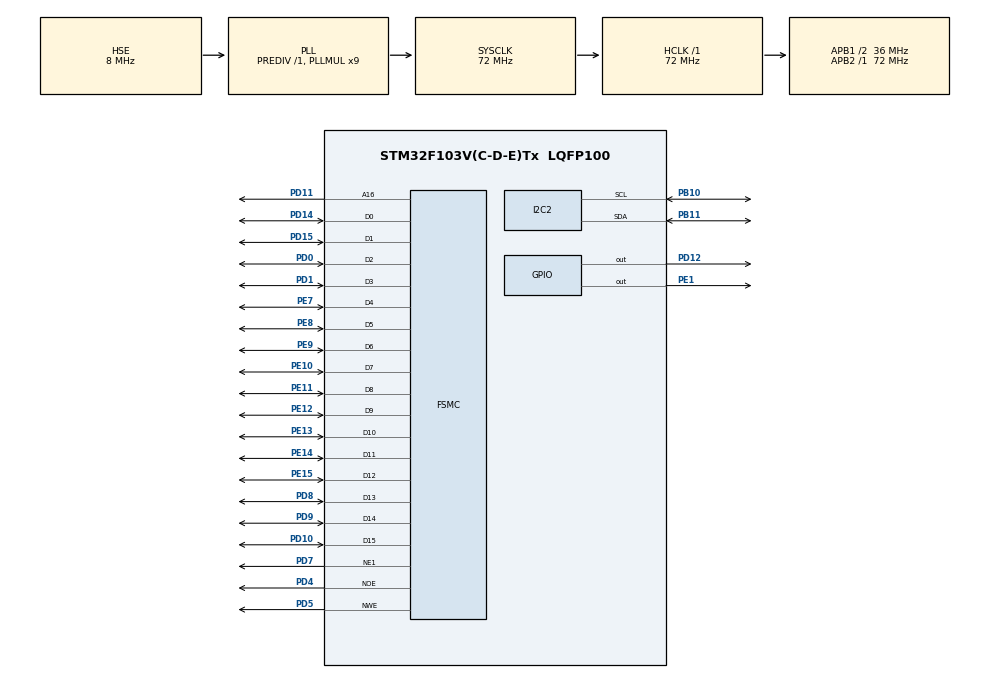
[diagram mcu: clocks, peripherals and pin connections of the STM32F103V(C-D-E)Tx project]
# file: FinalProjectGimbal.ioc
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Mcu.Family=STM32F1
Mcu.Name=STM32F103V(C-D-E)Tx
Mcu.Package=LQFP100
NVIC.PriorityGroup=NVIC_PRIORITYGROUP_4
OSC_IN.Mode=HSE-External-Oscillator
OSC_IN.Signal=RCC_OSC_IN
OSC_OUT.Mode=HSE-External-Oscillator
OSC_OUT.Signal=RCC_OSC_OUT
PA13.Mode=Serial_Wire
PA13.Signal=SYS_JTMS-SWDIO
PA14.Mode=Serial_Wire
PA14.Signal=SYS_JTCK-SWCLK
PB10.Mode=I2C
PB10.Signal=I2C2_SCL
PB11.Mode=I2C
PB11.Signal=I2C2_SDA
PC14-OSC32_IN.Mode=LSE-External-Oscillator
PC14-OSC32_IN.Signal=RCC_OSC32_IN
PC15-OSC32_OUT.Mode=LSE-External-Oscillator
PC15-OSC32_OUT.Signal=RCC_OSC32_OUT
PD0.Mode=16b-d1
PD0.Signal=FSMC_D2
PD1.Mode=16b-d1
PD1.Signal=FSMC_D3
PD10.Mode=16b-d1
PD10.Signal=FSMC_D15
PD11.Mode=A16_1
PD11.Signal=FSMC_A16
PD12.GPIO_Speed=GPIO_SPEED_FREQ_HIGH
PD12.Signal=GPIO_Output
PD14.Mode=16b-d1
PD14.Signal=FSMC_D0
PD15.Mode=16b-d1
PD15.Signal=FSMC_D1
PD4.Mode=Lcd1
PD4.Signal=FSMC_NOE
PD5.Mode=Lcd1
PD5.Signal=FSMC_NWE
PD7.Mode=NorPsramChipSelect1_1
PD7.Signal=FSMC_NE1
PD8.Mode=16b-d1
PD8.Signal=FSMC_D13
PD9.Mode=16b-d1
PD9.Signal=FSMC_D14
PE1.GPIO_Speed=GPIO_SPEED_FREQ_HIGH
PE1.PinState=GPIO_PIN_RESET
PE1.Signal=GPIO_Output
PE10.Mode=16b-d1
PE10.Signal=FSMC_D7
PE11.Mode=16b-d1
PE11.Signal=FSMC_D8
PE12.Mode=16b-d1
PE12.Signal=FSMC_D9
PE13.Mode=16b-d1
PE13.Signal=FSMC_D10
PE14.Mode=16b-d1
PE14.Signal=FSMC_D11
PE15.Mode=16b-d1
PE15.Signal=FSMC_D12
PE7.Mode=16b-d1
PE7.Signal=FSMC_D4
PE8.Mode=16b-d1
PE8.Signal=FSMC_D5
PE9.Mode=16b-d1
PE9.Signal=FSMC_D6
ProjectManager.HeapSize=0x200
ProjectManager.StackSize=0x400
ProjectManager.TargetToolchain=STM32CubeIDE
RCC.AHBFreq_Value=72000000
RCC.APB1CLKDivider=RCC_HCLK_DIV2
RCC.APB1Freq_Value=36000000
RCC.APB1TimFreq_Value=72000000
RCC.APB2Freq_Value=72000000
RCC.APB2TimFreq_Value=72000000
RCC.HCLKFreq_Value=72000000
RCC.PLLMUL=RCC_PLL_MUL9
RCC.PLLSourceVirtual=RCC_PLLSOURCE_HSE
RCC.SYSCLKFreq_VALUE=72000000
RCC.SYSCLKSource=RCC_SYSCLKSOURCE_PLLCLK
RCC.USBFreq_Value=72000000
board=custom

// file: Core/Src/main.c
/* USER CODE BEGIN Header */
/**
  ******************************************************************************
  * @file           : main.c
  * @brief          : Main program body
  ******************************************************************************
  * @attention
  *
  * Copyright (c) 2022 STMicroelectronics.
  * All rights reserved.
  *
  * This software is licensed under terms that can be found in the LICENSE file
  * in the root directory of this software component.
  * If no LICENSE file comes with this software, it is provided AS-IS.
  *
  ******************************************************************************
  */
/* USER CODE END Header */
#include "main.h"
#include <stdio.h>
#include <unistd.h>
#include <string.h>
#include <math.h>
#include "lcd.h"

/* USER CODE BEGIN PTD */
#define RAD_TO_DEG 57.295779513082320876798154814105
#define PI 3.141592654
/* USER CODE END PTD */

I2C_HandleTypeDef hi2c2;

SRAM_HandleTypeDef hsram1;

void SystemClock_Config(void);
static void MX_GPIO_Init(void);
static void MX_FSMC_Init(void);
static void MX_I2C2_Init(void);
/* USER CODE BEGIN PFP */

#define MPU6050_ADDR 0xD0

#define SMPLRT_DIV_REG 0x19
#define GYRO_CONFIG_REG 0x1B
#define ACCEL_CONFIG_REG 0x1C
#define ACCEL_XOUT_REG 0x3B
#define TEMP_OUT_H_REG 0x41
#define GYRO_XOUT_H_REG 0x43
#define PWR_MGMT_1_REG 0x6B
#define WHO_AM_I_REG 0x75

//Kalman Struct
typedef struct
{
	double Q_angle;
	double Q_bias;
	double R_measure;
	double angle;
	double bias;
	double P[2][2];
} Kalman_t ;

int16_t Accel_X_RAW = 0;
int16_t Accel_Y_RAW = 0;
int16_t Accel_Z_RAW = 0;

int16_t Gyro_X_RAW = 0;
int16_t Gyro_Y_RAW = 0;
int16_t Gyro_Z_RAW = 0;

int16_t Accel_X_Error = 0;
int16_t Accel_Y_Error = 0;
int16_t Accel_Z_Error = 0;

int16_t Gyro_X_Error = 0;
int16_t Gyro_Y_Error = 0;
int16_t Gyro_Z_Error = 0;

float Ax, Ay, Az, Gx, Gy, Gz;

uint32_t timer;

/* USER CODE END PFP */

/* USER CODE BEGIN 0 */

Kalman_t KalmanX = {
		.Q_angle = 0.001f,
		.Q_bias = 0.003f,
		.R_measure = 0.03f
};

Kalman_t KalmanY = {
		.Q_angle = 0.001f,
		.Q_bias = 0.003f,
		.R_measure = 0.03f
};

double KalmanAngleX;
double KalmanAngleY;
double KalmanAngleZ;

void MPU6050_Init(void)
{
	uint8_t check, data;
	HAL_I2C_Mem_Read(&hi2c2, MPU6050_ADDR, WHO_AM_I_REG, 1, &check, 1, 1000);

	if (check == 104) // If the device is present
	{
		//Waking the sensor up
		data = 0;
		HAL_I2C_Mem_Write(&hi2c2, MPU6050_ADDR, PWR_MGMT_1_REG, 1, &data, 1, 1000);

		//Setting Data Rate to 1KHz by writing SMPRT_DIV register
		data = 0x07;
		HAL_I2C_Mem_Write(&hi2c2, MPU6050_ADDR, SMPLRT_DIV_REG, 1, &data, 1, 1000);

		//Setting accelerometer configuration
		//XA_ST=0, YA_ST=0,ST=0,FS_SEL = 0 -> +-2g
		data = 0x00;
		HAL_I2C_Mem_Write(&hi2c2, MPU6050_ADDR, ACCEL_CONFIG_REG, 1, &data, 1, 1000);

		//Setting Gyroscope configuration
		//XG_ST=0,YG_ST=0, ZG_ST=0,FS_SEL=0 -> +=250 deg/sec
		data = 0x00;
		HAL_I2C_Mem_Write(&hi2c2, MPU6050_ADDR, GYRO_CONFIG_REG, 1, &data, 1, 1000);
	}
}

void MPU6050_Read_Accel(void)
{
	uint8_t Rec_Data[6];

	// Read 6 BYTES of data starting from ACCEL_XOUT_H register
	HAL_I2C_Mem_Read(&hi2c2, MPU6050_ADDR, ACCEL_XOUT_REG, 1, Rec_Data, 6, 1000);

	Accel_X_RAW = (int16_t)(Rec_Data[0] << 8 | Rec_Data[1]);
	Accel_Y_RAW = (int16_t)(Rec_Data[2] << 8 | Rec_Data[3]);
	Accel_Z_RAW = (int16_t)(Rec_Data[4] << 8 | Rec_Data[5]);

	// Converting RAW values into acceleration in g
	// We have to divide according to the Full scale value set in FS_SEL

	Ax = Accel_X_RAW/16484.0;
	Ay = Accel_Y_RAW/16484.0;
	Az = Accel_Z_RAW/16484.0;
}

void MPU6050_Read_Gyro(void)
{
	uint8_t Rec_Data[6];

	// Read 6 BYTES of data starting from GYRO_XOUT_H register
	HAL_I2C_Mem_Read(&hi2c2, MPU6050_ADDR, GYRO_XOUT_H_REG, 1, Rec_Data, 6, 1000);

	Gyro_X_RAW = (int16_t)(Rec_Data[0] << 8 | Rec_Data[1]);
	Gyro_Y_RAW = (int16_t)(Rec_Data[2] << 8 | Rec_Data[3]);
	Gyro_Z_RAW = (int16_t)(Rec_Data[4] << 8 | Rec_Data[5]);

	//Converting RAW  values to degree per second
	// We have to divide according to the full scale value set in FS_SEL

	Gx = Gyro_X_RAW/131.0;
	Gy = Gyro_Y_RAW/131.0;
	Gz = Gyro_Z_RAW/131.0;
}

void MPU6050_ReadAccelError(void)
{
	uint8_t Rec_Data[6];

		// Read 6 BYTES of data starting from ACCEL_XOUT_H register
		HAL_I2C_Mem_Read(&hi2c2, MPU6050_ADDR, ACCEL_XOUT_REG, 1, Rec_Data, 6, 1000);

		Accel_X_Error = (int16_t)(Rec_Data[0] << 8 | Rec_Data[1]);
		Accel_Y_Error = (int16_t)(Rec_Data[2] << 8 | Rec_Data[3]);
		Accel_Z_Error = (int16_t)(Rec_Data[4] << 8 | Rec_Data[5]);

		for (int i = 0; i < 200; i++)
		{
			HAL_I2C_Mem_Read(&hi2c2, MPU6050_ADDR, ACCEL_XOUT_REG, 1, Rec_Data, 6, 1000);

			Accel_X_Error += (int16_t)(Rec_Data[0] << 8 | Rec_Data[1]);
			Accel_Y_Error += (int16_t)(Rec_Data[2] << 8 | Rec_Data[3]);
			Accel_Z_Error += (int16_t)(Rec_Data[4] << 8 | Rec_Data[5]);
			HAL_Delay(100);
		}

		Accel_X_Error = Accel_X_Error/200;
		Accel_Y_Error = Accel_Y_Error/200;
		Accel_Z_Error = Accel_Z_Error/200;

		// Converting RAW values into acceleration in g
		// We have to divide according to the Full scale value set in FS_SEL

		Accel_X_Error = Accel_X_Error/16484.0;
		Accel_Y_Error = Accel_Y_Error/16484.0;
		Accel_Z_Error = Accel_Z_Error/16484.0;
}

void MPU6050_ReadGryoError(void)
{
	uint8_t Rec_Data[6];

		// Read 6 BYTES of data starting from GYRO_XOUT_H register
		HAL_I2C_Mem_Read(&hi2c2, MPU6050_ADDR, GYRO_XOUT_H_REG, 1, Rec_Data, 6, 1000);

		Gyro_X_Error = (int16_t)(Rec_Data[0] << 8 | Rec_Data[1]);
		Gyro_Y_Error = (int16_t)(Rec_Data[2] << 8 | Rec_Data[3]);
		Gyro_Z_Error = (int16_t)(Rec_Data[4] << 8 | Rec_Data[5]);

		for (int i = 0; i < 200; i++)
		{
			HAL_I2C_Mem_Read(&hi2c2, MPU6050_ADDR, GYRO_XOUT_H_REG, 1, Rec_Data, 6, 1000);

			Gyro_X_Error += (int16_t)(Rec_Data[0] << 8 | Rec_Data[1]);
			Gyro_Y_Error += (int16_t)(Rec_Data[2] << 8 | Rec_Data[3]);
			Gyro_Z_Error += (int16_t)(Rec_Data[4] << 8 | Rec_Data[5]);

			HAL_Delay(100);
		}

		Gyro_X_Error = Gyro_X_Error/200;
		Gyro_Y_Error = Gyro_Y_Error/200;
		Gyro_Z_Error = Gyro_Z_Error/200;

		//Converting RAW  values to degree per second
		// We have to divide according to the full scale value set in FS_SEL

		Gyro_X_Error = Gyro_X_Error/131.0;
		Gyro_Y_Error = Gyro_Y_Error/131.0;
		Gyro_Z_Error = Gyro_Z_Error/131.0;

}

double Kalman_getAngle(Kalman_t *Kalman, double newAngle, double newRate, double dt)
{
    double rate = newRate - Kalman->bias;
    Kalman->angle += dt * rate;

    Kalman->P[0][0] += dt * (dt * Kalman->P[1][1] - Kalman->P[0][1] - Kalman->P[1][0] + Kalman->Q_angle);
    Kalman->P[0][1] -= dt * Kalman->P[1][1];
    Kalman->P[1][0] -= dt * Kalman->P[1][1];
    Kalman->P[1][1] += Kalman->Q_bias * dt;

    double S = Kalman->P[0][0] + Kalman->R_measure;
    double K[2];
    K[0] = Kalman->P[0][0] / S;
    K[1] = Kalman->P[1][0] / S;

    double y = newAngle - Kalman->angle;
    Kalman->angle += K[0] * y;
    Kalman->bias += K[1] * y;

    double P00_temp = Kalman->P[0][0];
    double P01_temp = Kalman->P[0][1];

    Kalman->P[0][0] -= K[0] * P00_temp;
    Kalman->P[0][1] -= K[0] * P01_temp;
    Kalman->P[1][0] -= K[1] * P00_temp;
    Kalman->P[1][1] -= K[1] * P01_temp;

    return Kalman->angle;
};

void MPU6050_Read_All()
{
	uint8_t Rec_Data[6];

	// Read 6 BYTES of data starting from ACCEL_XOUT_H register
	HAL_I2C_Mem_Read(&hi2c2, MPU6050_ADDR, ACCEL_XOUT_REG, 1, Rec_Data, 6, 1000);

	Accel_X_RAW = (int16_t)(Rec_Data[0] << 8 | Rec_Data[1]);
	Accel_Y_RAW = (int16_t)(Rec_Data[2] << 8 | Rec_Data[3]);
	Accel_Z_RAW = (int16_t)(Rec_Data[4] << 8 | Rec_Data[5]);

	// Converting RAW values into acceleration in g
	// We have to divide according to the Full scale value set in FS_SEL

	Ax = Accel_X_RAW/16484.0;
	Ay = Accel_Y_RAW/16484.0;
	Az = Accel_Z_RAW/16484.0;

	uint8_t Rec_Data2[6];

	// Read 6 BYTES of data starting from GYRO_XOUT_H register
	HAL_I2C_Mem_Read(&hi2c2, MPU6050_ADDR, GYRO_XOUT_H_REG, 1, Rec_Data2, 6, 1000);

	Gyro_X_RAW = (int16_t)(Rec_Data2[0] << 8 | Rec_Data2[1]);
	Gyro_Y_RAW = (int16_t)(Rec_Data2[2] << 8 | Rec_Data2[3]);
	Gyro_Z_RAW = (int16_t)(Rec_Data2[4] << 8 | Rec_Data2[5]);

	//Converting RAW  values to degree per second
	// We have to divide according to the full scale value set in FS_SEL

	Gx = Gyro_X_RAW/131.0;
	Gy = Gyro_Y_RAW/131.0;
	Gz = Gyro_Z_RAW/131.0;

	// Kalman Angle Solve
	double dt = (double)(HAL_GetTick() - timer) / 1000;
	timer = HAL_GetTick();

	double roll;
	double roll_sqrt = sqrt(Accel_X_RAW * Accel_X_RAW + Accel_Z_RAW * Accel_Z_RAW);

	if (roll_sqrt != 0)
	{
		roll = atan(Accel_Y_RAW / roll_sqrt) * RAD_TO_DEG;
	}
	else
	{
		roll = 0.0;
	}

	double pitch = atan2(-Accel_X_RAW,Accel_Z_RAW) * RAD_TO_DEG;
	if ((pitch < -90 && KalmanAngleY > 90) || (pitch > 90 && KalmanAngleY < -90))
	{
		KalmanY.angle = pitch;
		KalmanAngleY = pitch;
	}
	else
	{
		KalmanAngleY = Kalman_getAngle(&KalmanY, pitch, Gy, dt);

	}
	if (fabs(KalmanAngleY) > 90)
	{
		Gx = -Gx;
	}

	KalmanAngleX = Kalman_getAngle(&KalmanX, roll, Gx, dt);

	double yaw = 0;
	yaw += Gz/dt;

	KalmanAngleZ = yaw;

}

/* USER CODE END 0 */

int main(void)
{
	/* USER CODE BEGIN 1 */
	char buf[4];
	  /* USER CODE END 1 */

	  /* MCU Configuration--------------------------------------------------------*/

	  /* Reset of all peripherals, Initializes the Flash interface and the Systick. */
	//  __HAL_RCC_I2C2_CLK_ENABLE();
	  HAL_Init();

	  /* Configure the system clock */
	  SystemClock_Config();

	  /* Initialize all configured peripherals */
	  MX_GPIO_Init();
	  MX_FSMC_Init();
	  MX_I2C2_Init();
	  LCD_INIT();
	  /* USER CODE BEGIN 2 */
	  LCD_INIT();
	  MPU6050_Init();

	  LCD_DrawString(20,20, "Initialized");

	  HAL_Delay(1000);

	  LCD_DrawString(50, 20, "MPU6050");

	  /* USER CODE END 2 */

	  /* Infinite loop */
	  while (1)
	  {

	    /* USER CODE BEGIN 3 */
		  MPU6050_Read_Accel();
		  MPU6050_Read_Gyro();
		  MPU6050_Read_All();

		 //Printing on LCD
		  sprintf(buf, "%.2f",Gx);
		  LCD_DrawString(100,100, buf);

		  sprintf(buf, "%.2f",Gy);
		  LCD_DrawString(100,200, buf);

		  sprintf(buf, "%.2f",Gz);
		  LCD_DrawString(100,300, buf);

		  sprintf(buf, "%.2f",KalmanAngleX);
		  LCD_DrawString(90, 50, buf);

		  sprintf(buf, "%.2f",KalmanAngleY);
		  LCD_DrawString(90,90, buf);

		  HAL_Delay(100);

	  }
	  /* USER CODE END 3 */
}

void SystemClock_Config(void)
{
  RCC_OscInitTypeDef RCC_OscInitStruct = {0};
  RCC_ClkInitTypeDef RCC_ClkInitStruct = {0};

  /** Initializes the RCC Oscillators according to the specified parameters
  * in the RCC_OscInitTypeDef structure.
  */
  RCC_OscInitStruct.OscillatorType = RCC_OSCILLATORTYPE_HSE;
  RCC_OscInitStruct.HSEState = RCC_HSE_ON;
  RCC_OscInitStruct.HSEPredivValue = RCC_HSE_PREDIV_DIV1;
  RCC_OscInitStruct.HSIState = RCC_HSI_ON;
  RCC_OscInitStruct.PLL.PLLState = RCC_PLL_ON;
  RCC_OscInitStruct.PLL.PLLSource = RCC_PLLSOURCE_HSE;
  RCC_OscInitStruct.PLL.PLLMUL = RCC_PLL_MUL9;
  if (HAL_RCC_OscConfig(&RCC_OscInitStruct) != HAL_OK)
  {
    Error_Handler();
  }

  /** Initializes the CPU, AHB and APB buses clocks
  */
  RCC_ClkInitStruct.ClockType = RCC_CLOCKTYPE_HCLK|RCC_CLOCKTYPE_SYSCLK
                              |RCC_CLOCKTYPE_PCLK1|RCC_CLOCKTYPE_PCLK2;
  RCC_ClkInitStruct.SYSCLKSource = RCC_SYSCLKSOURCE_PLLCLK;
  RCC_ClkInitStruct.AHBCLKDivider = RCC_SYSCLK_DIV1;
  RCC_ClkInitStruct.APB1CLKDivider = RCC_HCLK_DIV2;
  RCC_ClkInitStruct.APB2CLKDivider = RCC_HCLK_DIV1;

  if (HAL_RCC_ClockConfig(&RCC_ClkInitStruct, FLASH_LATENCY_2) != HAL_OK)
  {
    Error_Handler();
  }
}

static void MX_I2C2_Init(void)
{

  hi2c2.Instance = I2C2;
  hi2c2.Init.ClockSpeed = 100000;
  hi2c2.Init.DutyCycle = I2C_DUTYCYCLE_2;
  hi2c2.Init.OwnAddress1 = 0;
  hi2c2.Init.AddressingMode = I2C_ADDRESSINGMODE_7BIT;
  hi2c2.Init.DualAddressMode = I2C_DUALADDRESS_DISABLE;
  hi2c2.Init.OwnAddress2 = 0;
  hi2c2.Init.GeneralCallMode = I2C_GENERALCALL_DISABLE;
  hi2c2.Init.NoStretchMode = I2C_NOSTRETCH_DISABLE;
  if (HAL_I2C_Init(&hi2c2) != HAL_OK)
  {
    Error_Handler();
  }

}

static void MX_GPIO_Init(void)
{
  GPIO_InitTypeDef GPIO_InitStruct = {0};

  /* GPIO Ports Clock Enable */
  __HAL_RCC_GPIOC_CLK_ENABLE();
  __HAL_RCC_GPIOE_CLK_ENABLE();
  __HAL_RCC_GPIOB_CLK_ENABLE();
  __HAL_RCC_GPIOD_CLK_ENABLE();
  __HAL_RCC_GPIOA_CLK_ENABLE();

  /*Configure GPIO pin Output Level */
  HAL_GPIO_WritePin(GPIOD, GPIO_PIN_12, GPIO_PIN_RESET);

  /*Configure GPIO pin Output Level */
  HAL_GPIO_WritePin(GPIOE, GPIO_PIN_1, GPIO_PIN_RESET);

  /*Configure GPIO pin : PD12 */
  GPIO_InitStruct.Pin = GPIO_PIN_12;
  GPIO_InitStruct.Mode = GPIO_MODE_OUTPUT_PP;
  GPIO_InitStruct.Pull = GPIO_NOPULL;
  GPIO_InitStruct.Speed = GPIO_SPEED_FREQ_HIGH;
  HAL_GPIO_Init(GPIOD, &GPIO_InitStruct);

  /*Configure GPIO pin : PE1 */
  GPIO_InitStruct.Pin = GPIO_PIN_1;
  GPIO_InitStruct.Mode = GPIO_MODE_OUTPUT_PP;
  GPIO_InitStruct.Pull = GPIO_NOPULL;
  GPIO_InitStruct.Speed = GPIO_SPEED_FREQ_HIGH;
  HAL_GPIO_Init(GPIOE, &GPIO_InitStruct);

}

/* FSMC initialization function */
static void MX_FSMC_Init(void)
{

  FSMC_NORSRAM_TimingTypeDef Timing = {0};

  /** Perform the SRAM1 memory initialization sequence
  */
  hsram1.Instance = FSMC_NORSRAM_DEVICE;
  hsram1.Extended = FSMC_NORSRAM_EXTENDED_DEVICE;
  /* hsram1.Init */
  hsram1.Init.NSBank = FSMC_NORSRAM_BANK1;
  hsram1.Init.DataAddressMux = FSMC_DATA_ADDRESS_MUX_DISABLE;
  hsram1.Init.MemoryType = FSMC_MEMORY_TYPE_SRAM;
  hsram1.Init.MemoryDataWidth = FSMC_NORSRAM_MEM_BUS_WIDTH_16;
  hsram1.Init.BurstAccessMode = FSMC_BURST_ACCESS_MODE_DISABLE;
  hsram1.Init.WaitSignalPolarity = FSMC_WAIT_SIGNAL_POLARITY_LOW;
  hsram1.Init.WrapMode = FSMC_WRAP_MODE_DISABLE;
  hsram1.Init.WaitSignalActive = FSMC_WAIT_TIMING_BEFORE_WS;
  hsram1.Init.WriteOperation = FSMC_WRITE_OPERATION_ENABLE;
  hsram1.Init.WaitSignal = FSMC_WAIT_SIGNAL_DISABLE;
  hsram1.Init.ExtendedMode = FSMC_EXTENDED_MODE_DISABLE;
  hsram1.Init.AsynchronousWait = FSMC_ASYNCHRONOUS_WAIT_DISABLE;
  hsram1.Init.WriteBurst = FSMC_WRITE_BURST_DISABLE;
  /* Timing */
  Timing.AddressSetupTime = 15;
  Timing.AddressHoldTime = 15;
  Timing.DataSetupTime = 255;
  Timing.BusTurnAroundDuration = 15;
  Timing.CLKDivision = 16;
  Timing.DataLatency = 17;
  Timing.AccessMode = FSMC_ACCESS_MODE_A;
  /* ExtTiming */

  if (HAL_SRAM_Init(&hsram1, &Timing, NULL) != HAL_OK)
  {
    Error_Handler( );
  }

  /** Disconnect NADV
  */

  __HAL_AFIO_FSMCNADV_DISCONNECTED();

}

void Error_Handler(void)
{
  __disable_irq();
  while (1)
  {
  }
}
